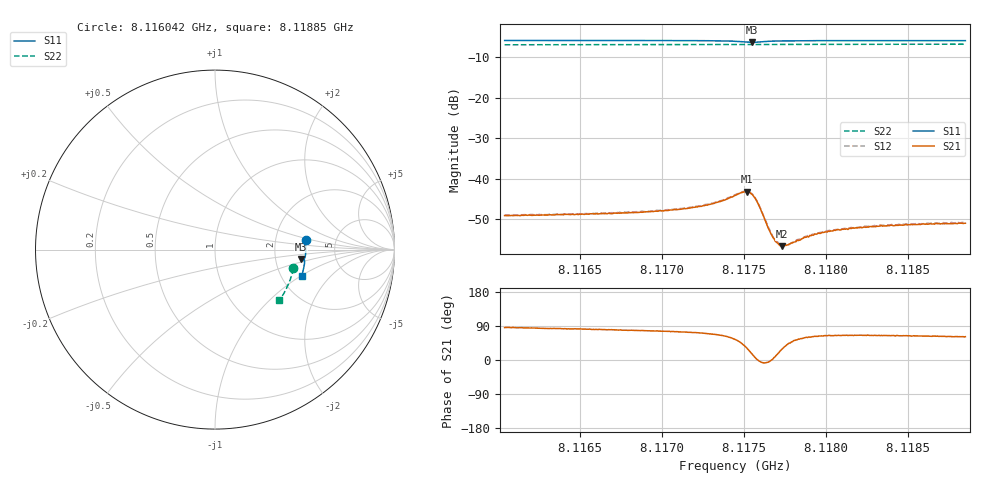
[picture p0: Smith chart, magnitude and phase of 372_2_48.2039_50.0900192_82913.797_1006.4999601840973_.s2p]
#  HZ  S  RI  R  50.00
! Rohde & Schwarz Vector Network Analyzer
! Rohde-Schwarz,ZNB20-2Port,1311601062101988,3.16
! Created: UTC 3/20/2024, 11:52:45 AM
! freq[Hz]  re:S11  im:S11  re:S21  im:S21  re:S12  im:S12  re:S22  im:S22
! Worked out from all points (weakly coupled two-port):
!   401 points, 8.116042 GHz to 8.11885 GHz, reference 50 ohm
!   highest |S21| = -43.20 dB at 8.117516 GHz (marker M1); lowest = -56.7 dB at 8.117734 GHz (marker M2)
!   lowest |S11| = -6.4 dB at 8.117551 GHz (marker M3), VSWR 2.85, Z = 140 - j18.9 ohm
!   |S11| at or under -10 dB: nowhere
!   |S22| runs from -7.0 to -6.8 dB; largest |S21 - S12| = 0.00018
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8.1160422e9  0.5043 0.0551  0.000269 0.00349  0.000317 0.00356  0.4364 -0.1041
8.1165125e9  0.5062 0.0196  0.000529 0.0036  0.000586 0.00363  0.429 -0.1358
8.1169828e9  0.5054 -0.0167  0.00096 0.00389  0.00099 0.00393  0.4193 -0.1671
8.1172425e9  0.5026 -0.0382  0.00146 0.00431  0.00157 0.00438  0.4127 -0.1841
8.1173548e9  0.4995 -0.0489  0.00217 0.00473  0.00229 0.0048  0.4097 -0.1914
8.117446e9  0.4925 -0.0579  0.00361 0.00505  0.0037 0.0051  0.4067 -0.1974
8.1174881e9  0.4861 -0.0601  0.0049 0.00462  0.00502 0.00464  0.4055 -0.1998
8.1175162e9  0.4811 -0.0585  0.00585 0.0037  0.00596 0.00373  0.4045 -0.2013
8.1175513e9  0.4779 -0.0519  0.00616 0.00163  0.00626 0.0016  0.4034 -0.2033
8.1175653e9  0.4787 -0.049  0.00577 0.00081  0.00592 0.000799  0.4031 -0.204
8.1175864e9  0.4821 -0.0458  0.00493 -4.29e-05  0.00502 -7.9e-05  0.4026 -0.205
8.1176496e9  0.4928 -0.0479  0.00241 -0.000235  0.00249 -0.000261  0.4012 -0.2091
8.1176776e9  0.4955 -0.0511  0.00188 9.26e-05  0.00189 8.79e-05  0.4005 -0.211
8.1177057e9  0.4971 -0.0545  0.00154 0.000441  0.00161 0.000407  0.3997 -0.213
8.1177338e9  0.498 -0.0578  0.00128 0.00072  0.00135 0.000753  0.399 -0.2149
8.1177759e9  0.4988 -0.0623  0.00111 0.00109  0.00111 0.00106  0.3977 -0.2175
8.1178742e9  0.4988 -0.0718  0.000968 0.00162  0.00103 0.00164  0.3946 -0.2236
8.1179163e9  0.4986 -0.0755  0.000962 0.00177  0.001 0.0018  0.3934 -0.2264
8.1180075e9  0.4977 -0.0834  0.000962 0.00197  0.00101 0.00205  0.3903 -0.2319
8.1180637e9  0.4969 -0.0878  0.00101 0.00211  0.001 0.00213  0.3884 -0.2354
8.1183866e9  0.4919 -0.1126  0.00113 0.00237  0.00116 0.00242  0.377 -0.2551
8.1188498e9  0.4828 -0.1463  0.00134 0.00248  0.0014 0.0025  0.3588 -0.2821
